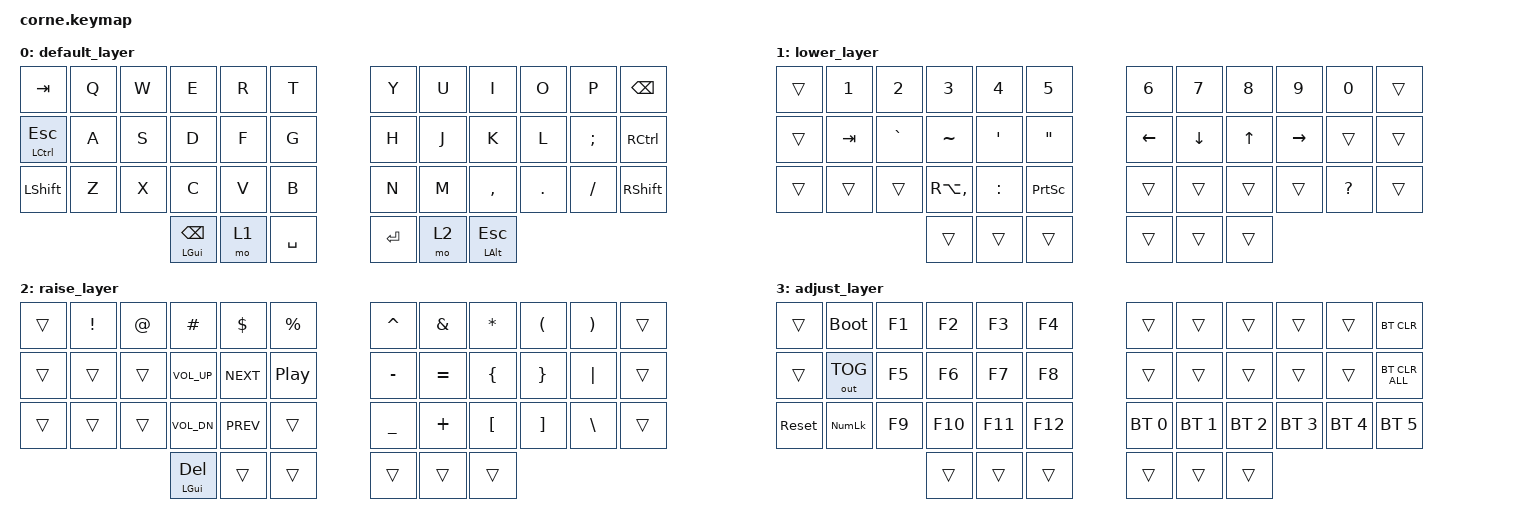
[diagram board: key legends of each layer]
/*
 * Copyright (c) 2020 The ZMK Contributors
 *
 * SPDX-License-Identifier: MIT
 */

#include <behaviors.dtsi>
#include <dt-bindings/zmk/keys.h>
#include <dt-bindings/zmk/bt.h>
#include <dt-bindings/zmk/outputs.h>

/ {
  conditional_layers {
    compatible = "zmk,conditional-layers";
    adjust_layer {
      if-layers = <1 2>;
      then-layer = <3>;
    };
  };

  behaviors {
    tp: homerow_mods {
        compatible = "zmk,behavior-hold-tap";
        label = "HOMEROW_MODS";
        #binding-cells = <2>;
        tapping-term-ms = <150>;
        quick-tap-ms = <0>;
        flavor = "tap-preferred";
        bindings = <&kp>, <&kp>;
    };
  };

  keymap {
    compatible = "zmk,keymap";

    default_layer {
      bindings = <
        &kp TAB       &kp Q &kp W &kp E &kp R &kp T  &kp Y &kp U &kp I     &kp O   &kp P    &kp BSPC
        &tp LCTRL ESC &kp A &kp S &kp D &kp F &kp G  &kp H &kp J &kp K     &kp L   &kp SEMI &kp RCTRL
        &kp LSHFT     &kp Z &kp X &kp C &kp V &kp B  &kp N &kp M &kp COMMA &kp DOT &kp FSLH &kp RSHFT
                      &tp LGUI BSPC &mo 1 &kp SPACE  &kp RET &mo 2 &tp LALT ESC
      >;
    };

    lower_layer {
      bindings = <
        &trans &kp N1  &kp N2    &kp N3        &kp N4    &kp N5     &kp N6   &kp N7   &kp N8 &kp N9    &kp N0    &trans
        &trans &kp TAB &kp GRAVE &kp TILDE     &kp SQT   &kp DQT    &kp LEFT &kp DOWN &kp UP &kp RIGHT &trans    &trans
        &trans &trans  &trans    &kp RA(COMMA) &kp COLON &kp PSCRN  &trans   &trans   &trans &trans    &kp QMARK &trans
                                              &trans &trans &trans  &trans &trans &trans
      >;
    };

    raise_layer {
      bindings = <
       &trans &kp EXCL &kp AT &kp HASH     &kp DLLR   &kp PRCNT  &kp CARET &kp AMPS  &kp ASTRK &kp LPAR &kp RPAR &trans
       &trans &trans   &trans &kp C_VOL_UP &kp C_NEXT &kp C_PP   &kp MINUS &kp EQUAL &kp LBRC  &kp RBRC &kp PIPE &trans
       &trans &trans   &trans &kp C_VOL_DN &kp C_PREV &trans     &kp UNDER &kp PLUS  &kp LBKT  &kp RBKT &kp BSLH &trans
                                    &tp LGUI DEL &trans &trans   &trans &trans &trans
      >;
    };

    adjust_layer {
      bindings = <
        &trans      &bootloader  &kp F1 &kp F2  &kp F3  &kp F4   &trans       &trans       &trans       &trans       &trans       &bt BT_CLR
        &trans      &out OUT_TOG &kp F5 &kp F6  &kp F7  &kp F8   &trans       &trans       &trans       &trans       &trans       &bt BT_CLR_ALL
        &sys_reset  &kp KP_NLCK  &kp F9 &kp F10 &kp F11 &kp F12  &bt BT_SEL 0 &bt BT_SEL 1 &bt BT_SEL 2 &bt BT_SEL 3 &bt BT_SEL 4 &bt BT_SEL 5
                                          &trans &trans &trans  &trans &trans &trans
      >;
    };
  };
};
